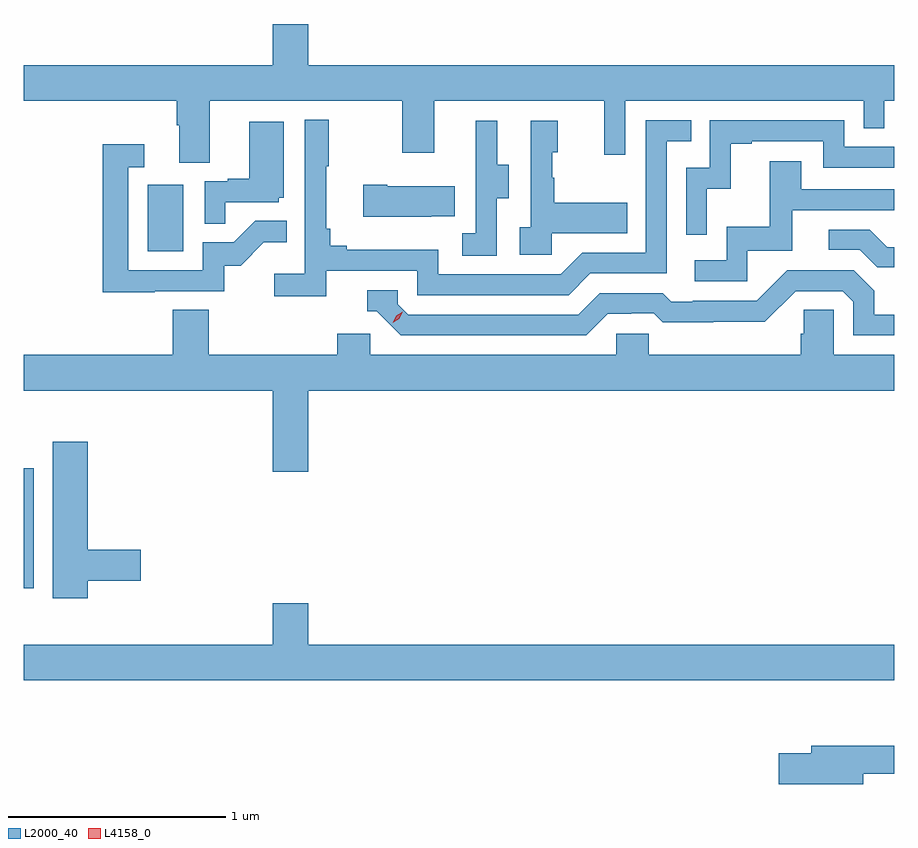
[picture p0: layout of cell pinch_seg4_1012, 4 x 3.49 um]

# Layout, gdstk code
import gdstk
lib = gdstk.Library(unit=1e-6, precision=1e-09)
def R(c, l, rs):  # rectangles x0, y0, x1, y1
    for r in rs: c.add(gdstk.rectangle(r[:2], r[2:], *l))
def P(c, l, *ps):  # polygons
    for p in ps: c.add(gdstk.Polygon(p, *l))
L2000_40 = (2000, 40)
L4158_0 = (4158, 0)

pinch_seg4_1012 = lib.new_cell('pinch_seg4_1012')
R(pinch_seg4_1012, L2000_40, [(799.228,779.926,799.272,780.478), (799.796,781.476,799.96,781.783)])
P(pinch_seg4_1012, L2000_40, [(800.083,782.168),(800.968,782.168),(800.968,781.929),(801.115,781.929),(801.115,782.168),(801.896,782.168),(801.896,781.92),(801.993,781.92),(801.993,782.168),(803.088,782.168),(803.088,782.041),(803.184,782.041),(803.184,782.168),(803.228,782.168),(803.228,782.332),(800.536,782.332),(800.536,782.521),(800.372,782.521),(800.372,782.332),(799.228,782.332),(799.228,782.168),(799.931,782.168),(799.931,782.056),(799.943,782.056),(799.943,781.882),(800.083,781.882)],
  [(800.618,781.386),(801.036,781.386),(801.036,781.275),(801.733,781.275),(801.832,781.374),(802.182,781.374),(802.182,781.983),(802.295,781.983),(802.295,782.079),(802.086,782.079),(802.086,781.47),(801.795,781.47),(801.696,781.371),(801.132,781.371),(801.132,781.483),(800.713,781.483),(800.713,781.502),(800.636,781.502),(800.636,781.579),(800.617,781.579),(800.617,781.867),(800.629,781.867),(800.629,782.08),(800.52,782.08),(800.52,781.372),(800.379,781.372),(800.379,781.27),(800.618,781.27)],
  [(802.368,781.763),(802.478,781.763),(802.478,781.971),(802.573,781.971),(802.573,781.983),(802.902,781.983),(802.902,781.86),(803.228,781.86),(803.228,781.956),(802.998,781.956),(802.998,782.079),(802.38,782.079),(802.38,781.86),(802.272,781.86),(802.272,781.551),(802.368,781.551)],
  [(801.654,781.559),(802.001,781.559),(802.001,781.699),(801.667,781.699),(801.667,781.814),(801.657,781.814),(801.657,781.932),(801.682,781.932),(801.682,782.077),(801.558,782.077),(801.558,781.586),(801.507,781.586),(801.507,781.461),(801.654,781.461)],
  [(801.402,781.72),(801.457,781.72),(801.457,781.875),(801.403,781.875),(801.403,782.077),(801.305,782.077),(801.305,781.863),(801.306,781.863),(801.306,781.559),(801.243,781.559),(801.243,781.456),(801.402,781.456)],
  [(800.153,781.701),(800.4,781.701),(800.4,781.722),(800.422,781.722),(800.422,782.071),(800.264,782.071),(800.264,781.81),(800.165,781.81),(800.165,781.797),(800.058,781.797),(800.058,781.603),(800.153,781.603)],
  [(799.829,781.293),(800.148,781.293),(800.148,781.41),(800.224,781.41),(800.331,781.517),(800.435,781.517),(800.435,781.616),(800.291,781.616),(800.193,781.518),(800.049,781.518),(800.049,781.389),(799.707,781.389),(799.707,781.863),(799.78,781.863),(799.78,781.969),(799.591,781.969),(799.591,781.288),(799.829,781.288)],
  [(802.554,781.479),(802.759,781.479),(802.759,781.665),(803.228,781.665),(803.228,781.761),(802.801,781.761),(802.801,781.891),(802.657,781.891),(802.657,781.588),(802.458,781.588),(802.458,781.434),(802.311,781.434),(802.311,781.338),(802.554,781.338)],
  [(801.101,781.637),(801.209,781.637),(801.209,781.774),(800.899,781.774),(800.899,781.782),(800.787,781.782),(800.787,781.634),(801.101,781.634)],
  [(803.228,781.494),(803.197,781.494),(803.116,781.575),(802.929,781.575),(802.929,781.482),(803.07,781.482),(803.15,781.402),(803.228,781.402)],
  [(801.913,781.188),(802.02,781.188),(802.02,781.191),(802.123,781.191),(802.165,781.149),(802.398,781.149),(802.398,781.151),(802.634,781.151),(802.776,781.293),(802.992,781.293),(803.04,781.245),(803.04,781.089),(803.228,781.089),(803.228,781.185),(803.137,781.185),(803.137,781.295),(803.043,781.389),(802.737,781.389),(802.596,781.248),(802.303,781.248),(802.303,781.245),(802.204,781.245),(802.165,781.284),(801.876,781.284),(801.777,781.185),(800.994,781.185),(800.946,781.233),(800.946,781.296),(800.807,781.296),(800.807,781.2),(800.85,781.2),(800.961,781.089),(801.814,781.089)],
  [(800.536,780.836),(803.228,780.836),(803.228,781),(802.95,781),(802.95,781.208),(802.813,781.208),(802.813,781.098),(802.799,781.098),(802.799,781),(802.101,781),(802.101,781.098),(801.951,781.098),(801.951,781),(800.82,781),(800.82,781.098),(800.669,781.098),(800.669,781),(800.078,781),(800.078,781.208),(799.913,781.208),(799.913,781),(799.228,781),(799.228,780.836),(800.372,780.836),(800.372,780.462),(800.536,780.462)],
  [(799.522,779.962),(799.765,779.962),(799.765,780.104),(799.522,780.104),(799.522,780.601),(799.361,780.601),(799.361,779.88),(799.522,779.88)],
  [(803.228,779.668),(800.536,779.668),(800.536,779.857),(800.372,779.857),(800.372,779.668),(799.228,779.668),(799.228,779.504),(803.228,779.504)],
  [(803.086,779.074),(803.228,779.074),(803.228,779.203),(802.847,779.203),(802.847,779.169),(802.698,779.169),(802.698,779.027),(803.086,779.027)])
P(pinch_seg4_1012, L4158_0, [(800.923,781.147),(800.923,781.147),(800.939,781.18),(800.97,781.199),(800.97,781.199),(800.97,781.199),(800.954,781.166),(800.923,781.147)])

lib.write_gds('pinch_seg4_1012.gds')
